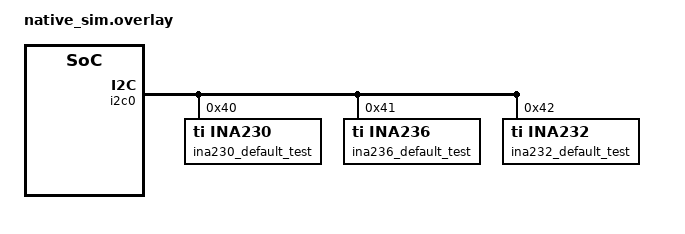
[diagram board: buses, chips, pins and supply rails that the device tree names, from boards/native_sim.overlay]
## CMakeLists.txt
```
# Copyright (c) 2023 North River Systems Ltd
# SPDX-License-Identifier: Apache-2.0

cmake_minimum_required(VERSION 3.20.0)
find_package(Zephyr REQUIRED HINTS $ENV{ZEPHYR_BASE})
project(device)

FILE(GLOB app_sources src/*.c)
target_sources(app PRIVATE ${app_sources})

# Include the INA23x driver path and unit-test path for private header inclusion
zephyr_include_directories(./src)
zephyr_include_directories(${ZEPHYR_BASE}/drivers/sensor/ti/ina2xx)
```

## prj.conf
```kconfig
# Copyright (c) 2023 North River Systems Ltd
# SPDX-License-Identifier: Apache-2.0

CONFIG_ZTEST=y
CONFIG_SENSOR=y
CONFIG_EMUL=y
CONFIG_GPIO=y

CONFIG_I2C_LOG_LEVEL_DBG=y

CONFIG_INA230_TRIGGER_OWN_THREAD=y

CONFIG_CBPRINTF_FP_SUPPORT=y
```

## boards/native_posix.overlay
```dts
/* Copyright (c) 2023 North River Systems Ltd
 * SPDX-License-Identifier: Apache-2.0
 */

 #include <zephyr/dt-bindings/sensor/ina230.h>

 &i2c0 {
	 status = "okay";

	/* Datasheet example and Default DT Configuration Test */
	ina230_default_test: ina230@40 {
		compatible = "ti,ina230";
		reg = <0x40>;
		rshunt-micro-ohms = <2000>;
		current-lsb-microamps = <1000>;
		status = "okay";
	};
};
```

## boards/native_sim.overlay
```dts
/* Copyright (c) 2023 North River Systems Ltd
 * SPDX-License-Identifier: Apache-2.0
 */

#include <zephyr/dt-bindings/sensor/ina230.h>

&i2c0 {
	status = "okay";

	/* Datasheet example and Default DT Configuration Test */
	ina230_default_test: ina230@40 {
		compatible = "ti,ina230";
		reg = <0x40>;
		rshunt-micro-ohms = <2000>;
		current-lsb-microamps = <1000>;
		status = "okay";
	};

	ina236_default_test: ina236@41 {
		compatible = "ti,ina236";
		reg = <0x41>;
		rshunt-micro-ohms = <2000>;
		current-lsb-microamps = <1000>;
		status = "okay";
	};

	ina232_default_test: ina232@42 {
		compatible = "ti,ina232";
		reg = <0x42>;
		rshunt-micro-ohms = <2000>;
		current-lsb-microamps = <1000>;
		status = "okay";
	};
};
```

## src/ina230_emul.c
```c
/*
 * Copyright (c) 2023 North River Systems Ltd
 *
 * SPDX-License-Identifier: Apache-2.0
 *
 * Emulator for the TI INA230 I2C power monitor
 */

#include <zephyr/device.h>
#include <zephyr/drivers/emul.h>
#include <zephyr/drivers/i2c_emul.h>
#include <zephyr/drivers/i2c.h>
#include <zephyr/logging/log.h>
#include <zephyr/sys/byteorder.h>
#include <ina230.h>
#include <ina230_emul.h>

LOG_MODULE_REGISTER(INA230_EMUL, CONFIG_SENSOR_LOG_LEVEL);

/* Register ID, size, and value table */
struct ina230_reg {
	uint8_t id;
	uint8_t bytes;
	uint32_t value;
};

/* Emulator configuration passed into driver instance */
struct ina230_emul_cfg {
	uint16_t addr;
};

#define MAX_REGS 0xff

struct ina230_emul_data {
	struct ina230_reg *regs;
};

static struct ina230_reg *get_register(struct ina230_emul_data *data, int reg)
{
	struct ina230_reg *c_reg = data->regs;

	while (c_reg->bytes) {
		if (c_reg->id == reg) {
			return c_reg;
		}
		c_reg++;
	}

	return NULL;
}

int ina230_mock_set_register(void *data_ptr, int reg, uint32_t value)
{
	struct ina230_reg *reg_ptr = get_register(data_ptr, reg);

	if (reg_ptr == NULL) {
		return -EINVAL;
	}

	reg_ptr->value = value;

	if (reg == INA230_REG_CONFIG) {
		/* bit 14 is always set in hardware */
		value |= 1 << 14;
	}

	return 0;
}

int ina230_mock_get_register(void *data_ptr, int reg, uint32_t *value_ptr)
{
	struct ina230_reg *reg_ptr = get_register(data_ptr, reg);

	if (reg_ptr == NULL || value_ptr == NULL) {
		return -EINVAL;
	}

	*value_ptr = reg_ptr->value;
	return 0;
}

static int ina230_emul_transfer_i2c(const struct emul *target, struct i2c_msg msgs[], int num_msgs,
				    int addr)
{
	struct ina230_emul_data *data = (struct ina230_emul_data *)target->data;

	/* The INA230 uses big-endian read 16, read 24, and write 16 transactions */
	if (!msgs || num_msgs < 1 || num_msgs > 2) {
		LOG_ERR("Invalid number of messages: %d", num_msgs);
		return -EIO;
	}

	if (msgs[0].flags & I2C_MSG_READ) {
		LOG_ERR("Expected write");
		return -EIO;
	}

	if (num_msgs == 1) {
		/* Write16 Transaction */
		if (msgs[0].len != 3) {
			LOG_ERR("Expected 3 bytes");
			return -EIO;
		}

		/* Write 2 bytes */
		uint8_t reg = msgs[0].buf[0];
		uint16_t val = sys_get_be16(&msgs[0].buf[1]);

		struct ina230_reg *reg_ptr = get_register(data, reg);

		if (!reg_ptr) {
			LOG_ERR("Invalid register: %02x", reg);
			return -EIO;
		}
		reg_ptr->value = val;
		LOG_DBG("Write reg %02x: %04x", reg, val);
	} else {
		/* Read 2 or 3 bytes */
		if ((msgs[1].flags & I2C_MSG_READ) == I2C_MSG_WRITE) {
			LOG_ERR("Expected read");
			return -EIO;
		}
		uint8_t reg = msgs[0].buf[0];

		struct ina230_reg *reg_ptr = get_register(data, reg);

		if (!reg_ptr) {
			LOG_ERR("Invalid register: %02x", reg);
			return -EIO;
		}

		if (msgs[1].len == 2) {
			sys_put_be16(reg_ptr->value, msgs[1].buf);
			LOG_DBG("Read16 reg %02x: %04x", reg, reg_ptr->value);
		} else if (msgs[1].len == 3) {
			sys_put_be24(reg_ptr->value, msgs[1].buf);
			LOG_DBG("Read24 reg %02x: %06x", reg, reg_ptr->value);
		} else {
			LOG_ERR("Invalid read length: %d", msgs[1].len);
			return -EIO;
		}
	}

	return 0;
}

static int ina230_emul_init(const struct emul *target, const struct device *parent)
{
	ARG_UNUSED(target);
	ARG_UNUSED(parent);

	return 0;
}

static const struct i2c_emul_api ina230_emul_api_i2c = {
	.transfer = ina230_emul_transfer_i2c,
};

/* clang-format off */

#define CREATE_INA230_REGS                                                                         \
	{INA230_REG_CONFIG, 2, 0x4127},                                                            \
	{INA230_REG_SHUNT_VOLT, 2, 0},                                                             \
	{INA230_REG_BUS_VOLT, 2, 0},                                                               \
	{INA230_REG_POWER, 2, 0},                                                                  \
	{INA230_REG_CURRENT, 2, 0},                                                                \
	{INA230_REG_CALIB, 2, 0},                                                                  \
	{INA230_REG_MASK, 2, 0},                                                                   \
	{INA230_REG_ALERT, 2, 0}

#define CREATE_INA232_REGS                                                                         \
	CREATE_INA230_REGS,                                                                        \
	{INA232_REG_MANUFACTURER_ID, 2, 0x5449}

#define CREATE_INA236_REGS                                                                         \
	CREATE_INA230_REGS,                                                                        \
	{INA236_REG_MANUFACTURER_ID, 2, 0x449},                                                    \
	{INA236_REG_DEVICE_ID, 2, 0xa080}

/* clang-format on */

#define INA230_EMUL(n, v)                                                                          \
	static const struct ina230_emul_cfg ina23##v##_emul_cfg_##n = {                            \
		.addr = DT_INST_REG_ADDR(n),                                                       \
	};                                                                                         \
	static struct ina230_reg ina23##v##_regs_##n[] = {CREATE_INA23##v##_REGS, {}};             \
	static struct ina230_emul_data ina23##v##_emul_data_##n = {                                \
		.regs = (struct ina230_reg *)ina23##v##_regs_##n,                                  \
	};                                                                                         \
	EMUL_DT_INST_DEFINE(n, ina230_emul_init, &ina23##v##_emul_data_##n,                        \
			    &ina23##v##_emul_cfg_##n, &ina230_emul_api_i2c, NULL)

#undef DT_DRV_COMPAT
#define DT_DRV_COMPAT ti_ina230
DT_INST_FOREACH_STATUS_OKAY_VARGS(INA230_EMUL, 0)

#undef DT_DRV_COMPAT
#define DT_DRV_COMPAT ti_ina232
DT_INST_FOREACH_STATUS_OKAY_VARGS(INA230_EMUL, 2)

#undef DT_DRV_COMPAT
#define DT_DRV_COMPAT ti_ina236
DT_INST_FOREACH_STATUS_OKAY_VARGS(INA230_EMUL, 6)
```

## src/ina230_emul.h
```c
/*
 * Copyright (c) 2023 North River Systems Ltd
 *
 * SPDX-License-Identifier: Apache-2.0
 *
 * Emulator for the TI INA230 I2C power monitor
 */
#ifndef INA230_EMUL_H_
#define INA230_EMUL_H_

#define INA230_REGISTER_COUNT 8
#define INA232_REGISTER_COUNT 1
#define INA236_REGISTER_COUNT 2

int ina230_mock_set_register(void *data_ptr, int reg, uint32_t value);
int ina230_mock_get_register(void *data_ptr, int reg, uint32_t *value_ptr);

#endif /* INA230_EMUL_H_ */
```

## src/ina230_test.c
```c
/*
 * Copyright (c) 2023 North River Systems Ltd
 * SPDX-License-Identifier: Apache-2.0
 */

#include <zephyr/device.h>
#include <zephyr/devicetree.h>
#include <zephyr/drivers/emul.h>
#include <zephyr/drivers/i2c_emul.h>
#include <zephyr/drivers/sensor.h>
#include <zephyr/drivers/gpio.h>
#include <zephyr/drivers/gpio/gpio_emul.h>
#include <zephyr/dt-bindings/sensor/ina230.h>
#include <zephyr/drivers/sensor/ina230.h>
#include <zephyr/fff.h>
#include <zephyr/ztest.h>

#include <ina230_emul.h>
#include <ina230.h>

DEFINE_FFF_GLOBALS;

enum ina23x_ids {
	INA230,
	INA232,
	INA236
};

struct ina230_fixture {
	const struct device *dev;
	const struct emul *mock;
	const uint16_t current_lsb_uA;
	const uint16_t rshunt_uOhms;
	const uint16_t config;
	const enum ina23x_ids dev_type;
	const struct gpio_dt_spec alert_gpios;
};

/**
 * @brief Verify devicetree default configuration is correct.
 */
ZTEST(ina230_0, test_default_config)
{
	const struct ina2xx_config *config;
	const struct device *dev = DEVICE_DT_GET(DT_NODELABEL(ina230_default_test));

	zassert_not_null(dev);
	config = dev->config;
	zassert_not_null(config);

	/* confirm default DT configuration */
	uint16_t expected = 0x0127;

	zexpect_equal(expected, config->config, "0x%x != config (0x%x)",
		expected, config->config);
}

static void test_datasheet_example(struct ina230_fixture *fixture)
{
	struct sensor_value sensor_val;
	uint16_t raw_voltage, raw_current, raw_power;
	double actual;

	/* only run test for datasheet example of 1mA current LSB and 2 mOhm shunt */
	if (fixture->current_lsb_uA != 1000 || fixture->rshunt_uOhms != 2000) {
		ztest_test_skip();
	}

	if (fixture->dev_type == INA230) {
		raw_voltage = 9584;
		raw_current = 10000;
		raw_power = 4792;
	} else {
		raw_voltage = 7487;
		raw_current = 10000;
		raw_power = 3744;
	}

	ina230_mock_set_register(fixture->mock->data, INA230_REG_BUS_VOLT, raw_voltage);
	ina230_mock_set_register(fixture->mock->data, INA230_REG_CURRENT, raw_current);
	ina230_mock_set_register(fixture->mock->data, INA230_REG_POWER, raw_power);
	zassert_ok(sensor_sample_fetch(fixture->dev));

	zassert_ok(sensor_channel_get(fixture->dev, SENSOR_CHAN_VOLTAGE, &sensor_val));
	actual = sensor_value_to_double(&sensor_val);
	zexpect_within(11.98, actual, 1.25e-3, "Expected 11.98 V, got %.6f V", actual);

	zassert_ok(sensor_channel_get(fixture->dev, SENSOR_CHAN_CURRENT, &sensor_val));
	actual = sensor_value_to_double(&sensor_val);
	zexpect_within(10.0, actual, 1e-3, "Expected 10 A, got %.6f V", actual);

	zassert_ok(sensor_channel_get(fixture->dev, SENSOR_CHAN_POWER, &sensor_val));
	actual = sensor_value_to_double(&sensor_val);
	zexpect_within(119.82, actual, 25e-3, "Expected 119.82 W, got %.6f W", actual);
}

/**
 * @brief Verify bus voltages for all ina230 nodes in DT
 *
 * @param fixture
 */
static void test_shunt_cal(struct ina230_fixture *fixture)
{
	/* Confirm SHUNT_CAL register which is 5120e-6 / Current_LSB * Rshunt */
	double shunt_cal = 5120e-6 / (fixture->current_lsb_uA * 1e-6 *
		fixture->rshunt_uOhms * 1e-6);

	uint32_t shunt_register_actual;
	uint16_t shunt_register_expected = (uint16_t)shunt_cal;

	zassert_ok(ina230_mock_get_register(fixture->mock->data, INA230_REG_CALIB,
		&shunt_register_actual));
	zexpect_within(shunt_register_expected, shunt_register_actual, 1,
		"Expected %d, got %d", shunt_register_expected, shunt_register_actual);
}

static void test_current(struct ina230_fixture *fixture)
{
	/* 16-bit signed value for current register */
	const int16_t current_reg_vectors[] = {
		32767,
		1000,
		100,
		1,
		0,
		-1,
		-100,
		-1000,
		-32768,
	};

	ARRAY_FOR_EACH_PTR(current_reg_vectors, current_register) {
		struct sensor_value sensor_val;
		double current_expected_A = fixture->current_lsb_uA * 1e-6 * *current_register;

		/* set current reading */
		ina230_mock_set_register(fixture->mock->data, INA230_REG_CURRENT,
					 *current_register);

		/* Verify sensor value is correct */
		zassert_ok(sensor_sample_fetch(fixture->dev));
		zassert_ok(sensor_channel_get(fixture->dev, SENSOR_CHAN_CURRENT, &sensor_val));
		double current_actual_A = sensor_value_to_double(&sensor_val);

		zexpect_within(current_expected_A, current_actual_A, fixture->current_lsb_uA*1e-6,
			"Expected %.6f A, got %.6f A", current_expected_A, current_actual_A);
	}
}

static void test_bus_voltage(struct ina230_fixture *fixture)
{
	zassert_not_null(fixture->mock);

	/* 16-bit signed value for voltage register (but always positive) 1.25 mV/bit */
	const int16_t voltage_reg_vectors[] = {
		32767,
		28800,	/* 36V maximum voltage */
		1000,
		100,
		1,
		0,
	};

	double bitres =
		(fixture->dev_type == INA232 || fixture->dev_type == INA236) ? 1.6e-3 : 1.25e-3;

	ARRAY_FOR_EACH_PTR(voltage_reg_vectors, voltage_register) {
		struct sensor_value sensor_val;

		ina230_mock_set_register(fixture->mock->data, INA230_REG_BUS_VOLT,
			*voltage_register);

		/* Verify sensor value is correct */
		zassert_ok(sensor_sample_fetch(fixture->dev));
		zassert_ok(sensor_channel_get(fixture->dev, SENSOR_CHAN_VOLTAGE, &sensor_val));

		double voltage_actual_V = sensor_value_to_double(&sensor_val);
		double voltage_expected_V = *voltage_register * bitres;

		zexpect_within(voltage_expected_V, voltage_actual_V, 1e-6,
			"Expected %.6f A, got %.6f A", voltage_expected_V, voltage_actual_V);
	}
}

static void test_power(struct ina230_fixture *fixture)
{
	/* 16-bit unsigned value for power register */
	const uint16_t power_reg_vectors[] = {
		65535,
		32767,
		10000,
		1000,
		100,
		1,
		0,
	};

	int scale = (fixture->dev_type == INA232 || fixture->dev_type == INA236) ? 32 : 25;

	ARRAY_FOR_EACH_PTR(power_reg_vectors, power_register) {
		struct sensor_value sensor_val;

		/* power is power_register * SCALE * current_lsb */
		double power_expected_W = *power_register * scale * fixture->current_lsb_uA * 1e-6;

		/* set current reading */
		ina230_mock_set_register(fixture->mock->data, INA230_REG_POWER, *power_register);

		/* Verify sensor value is correct */
		zassert_ok(sensor_sample_fetch(fixture->dev));
		zassert_ok(sensor_channel_get(fixture->dev, SENSOR_CHAN_POWER, &sensor_val));
		double power_actual_W = sensor_value_to_double(&sensor_val);

		zexpect_within(power_expected_W, power_actual_W, 1e-6,
			       "Expected %.6f W, got %.6f W for %d", power_expected_W,
			       power_actual_W, *power_register);
	}
}

static void test_shunt_voltage(struct ina230_fixture *fixture)
{
	/* 16-bit signed value for vshunt register */
	const int16_t vshunt_reg_vectors[] = {
		32767, 1000, 100, 1, 0, -1, -100, -1000, -32768,
	};

	ARRAY_FOR_EACH_PTR(vshunt_reg_vectors, vshunt_register) {
		struct sensor_value sensor_val;

		/* shunt voltage is vshunt_register * 2.5 uV */
		double vshunt_expected_mV = *vshunt_register * 2.5 * 1e-3;

		/* set current reading */
		ina230_mock_set_register(fixture->mock->data, INA230_REG_SHUNT_VOLT,
					 *vshunt_register);

		/* Verify sensor value is correct */
		zassert_ok(sensor_sample_fetch(fixture->dev));
		zassert_ok(sensor_channel_get(fixture->dev, SENSOR_CHAN_VSHUNT, &sensor_val));
		double vshunt_actual_mV = sensor_value_to_double(&sensor_val);

		zexpect_within(vshunt_expected_mV, vshunt_actual_mV, 1e-6,
			       "Expected %.6f mV, got %.6f mV for %d", vshunt_expected_mV,
			       vshunt_actual_mV, *vshunt_register);
	}
}

FAKE_VOID_FUNC(test_cnvr_trigger_handler, const struct device *, const struct sensor_trigger *);
FAKE_VOID_FUNC(test_alert_trigger_handler, const struct device *, const struct sensor_trigger *);

static void test_trigger(struct ina230_fixture *fixture)
{
	const struct sensor_trigger trigger = {
		.type = SENSOR_TRIG_DATA_READY,
		.chan = SENSOR_CHAN_ALL,
	};
	const struct sensor_trigger alarm_trigger = {
		.type = (enum sensor_trigger_type)SENSOR_TRIG_INA230_OVER,
		.chan = SENSOR_CHAN_VOLTAGE,
	};

	int ret;

	RESET_FAKE(test_cnvr_trigger_handler);
	RESET_FAKE(test_alert_trigger_handler);

	ret = sensor_trigger_set(fixture->dev, &trigger, test_cnvr_trigger_handler);
	zassert_equal(ret, 0);

	ret = sensor_trigger_set(fixture->dev, &alarm_trigger, test_alert_trigger_handler);
	zassert_equal(ret, 0);

	ina230_mock_set_register(fixture->mock->data, INA230_REG_MASK,
				 INA230_CONVERSION_READY | INA230_CONVERSION_READY_FLAG |
					 INA230_ALERT_FUNCTION_FLAG | INA230_BUS_VOLTAGE_OVER);

	/* Toggle the GPIO */
	gpio_emul_input_set(fixture->alert_gpios.port, fixture->alert_gpios.pin, 1);
	k_msleep(5);
	gpio_emul_input_set(fixture->alert_gpios.port, fixture->alert_gpios.pin, 0);
	k_msleep(5);

	/* Verify the handler was called */
	zassert_equal(test_cnvr_trigger_handler_fake.call_count, 1);
	zassert_equal(test_alert_trigger_handler_fake.call_count, 1);
}

static void test_trigger_config(struct ina230_fixture *fixture)
{
	const struct sensor_trigger cnvr_trigger = {
		.type = SENSOR_TRIG_DATA_READY,
		.chan = SENSOR_CHAN_ALL,
	};
	struct sensor_trigger alarm_trigger = {
		.type = (enum sensor_trigger_type)SENSOR_TRIG_INA230_OVER,
		.chan = SENSOR_CHAN_VOLTAGE,
	};
	struct sensor_value reg;
	int ret;

	/* Remove trigger */
	ret = sensor_trigger_set(fixture->dev, &cnvr_trigger, NULL);
	zassert_equal(ret, 0);

	ret = sensor_trigger_set(fixture->dev, &alarm_trigger, NULL);
	zassert_equal(ret, 0);

	sensor_attr_get(fixture->dev, SENSOR_CHAN_ALL, SENSOR_ATTR_FEATURE_MASK, &reg);
	zassert_equal(reg.val1, 0);

	/* Add triggers */
	ret = sensor_trigger_set(fixture->dev, &cnvr_trigger, test_cnvr_trigger_handler);
	zassert_equal(ret, 0);

	sensor_attr_get(fixture->dev, SENSOR_CHAN_ALL, SENSOR_ATTR_FEATURE_MASK, &reg);
	zassert_equal(reg.val1 & INA230_CONVERSION_READY, INA230_CONVERSION_READY);

	ret = sensor_trigger_set(fixture->dev, &alarm_trigger, test_alert_trigger_handler);
	zassert_equal(ret, 0);

	sensor_attr_get(fixture->dev, SENSOR_CHAN_ALL, SENSOR_ATTR_FEATURE_MASK, &reg);
	zassert_equal(reg.val1 & (INA230_CONVERSION_READY | INA230_BUS_VOLTAGE_OVER),
		      (INA230_CONVERSION_READY | INA230_BUS_VOLTAGE_OVER));

	/* Update trigger */
	alarm_trigger.type = (enum sensor_trigger_type)SENSOR_TRIG_INA230_UNDER;
	alarm_trigger.chan = SENSOR_CHAN_VSHUNT;

	ret = sensor_trigger_set(fixture->dev, &alarm_trigger, test_alert_trigger_handler);
	zassert_equal(ret, 0);

	sensor_attr_get(fixture->dev, SENSOR_CHAN_ALL, SENSOR_ATTR_FEATURE_MASK, &reg);
	zassert_equal(reg.val1 & (INA230_CONVERSION_READY | INA230_SHUNT_VOLTAGE_UNDER),
		      (INA230_CONVERSION_READY | INA230_SHUNT_VOLTAGE_UNDER));
}

/* Create a test fixture for each enabled ina230 device node */
#define INA230_FIXTURE_ENTRY(inst, v)                                                              \
	static struct ina230_fixture fixture_23##v##_##inst = {                                    \
		.dev = DEVICE_DT_INST_GET(inst),                                                   \
		.mock = EMUL_DT_GET(DT_DRV_INST(inst)),                                            \
		.current_lsb_uA = DT_INST_PROP(inst, current_lsb_microamps),                       \
		.rshunt_uOhms = DT_INST_PROP(inst, rshunt_micro_ohms),                             \
		.dev_type = INA23##v,                                                              \
		.alert_gpios = GPIO_DT_SPEC_INST_GET_OR(inst, alert_gpios, {0}),                   \
	}

/* Create a test suite for each enabled ina230 device node */
#define INA230_TESTS(inst, v)                                                                      \
	INA230_FIXTURE_ENTRY(inst, v);                                                             \
	ZTEST(ina23##v##_##inst, test_datasheet_example)                                           \
	{                                                                                          \
		test_datasheet_example(&fixture_23##v##_##inst);                                   \
	}                                                                                          \
	ZTEST(ina23##v##_##inst, test_shunt_cal)                                                   \
	{                                                                                          \
		test_shunt_cal(&fixture_23##v##_##inst);                                           \
	}                                                                                          \
	ZTEST(ina23##v##_##inst, test_current)                                                     \
	{                                                                                          \
		test_current(&fixture_23##v##_##inst);                                             \
	}                                                                                          \
	ZTEST(ina23##v##_##inst, test_bus_voltage)                                                 \
	{                                                                                          \
		test_bus_voltage(&fixture_23##v##_##inst);                                         \
	}                                                                                          \
	ZTEST(ina23##v##_##inst, test_power)                                                       \
	{                                                                                          \
		test_power(&fixture_23##v##_##inst);                                               \
	}                                                                                          \
	ZTEST(ina23##v##_##inst, test_shunt_voltage)                                               \
	{                                                                                          \
		test_shunt_voltage(&fixture_23##v##_##inst);                                       \
	}                                                                                          \
	ZTEST(ina23##v##_##inst, test_trigger)                                                     \
	{                                                                                          \
		test_trigger(&fixture_23##v##_##inst);                                             \
	}                                                                                          \
	ZTEST(ina23##v##_##inst, test_trigger_config)                                              \
	{                                                                                          \
		test_trigger_config(&fixture_23##v##_##inst);                                      \
	}                                                                                          \
	ZTEST_SUITE(ina23##v##_##inst, NULL, NULL, NULL, NULL, NULL);

#undef DT_DRV_COMPAT
#define DT_DRV_COMPAT ti_ina230
DT_INST_FOREACH_STATUS_OKAY_VARGS(INA230_TESTS, 0)

#undef DT_DRV_COMPAT
#define DT_DRV_COMPAT ti_ina232
DT_INST_FOREACH_STATUS_OKAY_VARGS(INA230_TESTS, 2)

#undef DT_DRV_COMPAT
#define DT_DRV_COMPAT ti_ina236
DT_INST_FOREACH_STATUS_OKAY_VARGS(INA230_TESTS, 6)
```
